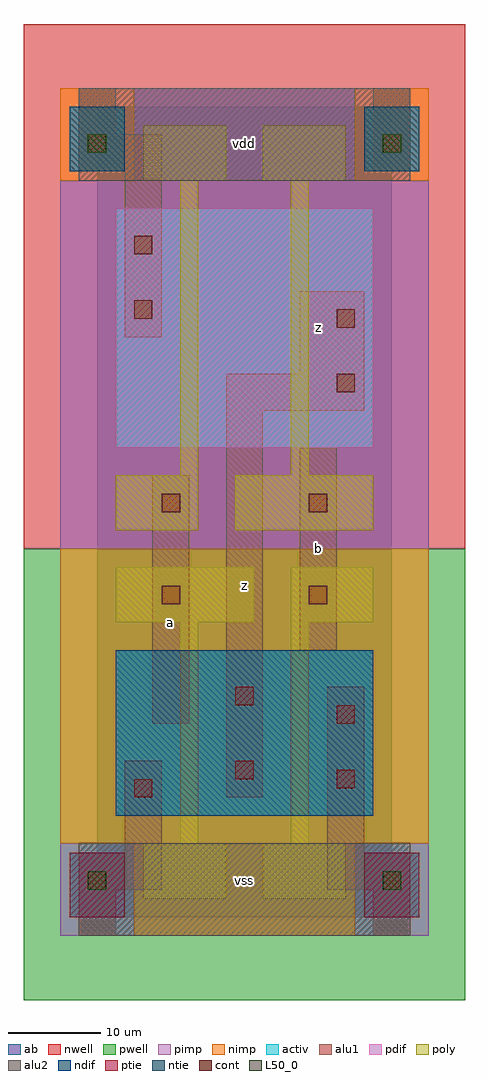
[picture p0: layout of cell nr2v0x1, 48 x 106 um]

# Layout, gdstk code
import gdstk
lib = gdstk.Library(unit=1e-6, precision=1e-09)
def R(c, l, rs):  # rectangles x0, y0, x1, y1
    for r in rs: c.add(gdstk.rectangle(r[:2], r[2:], *l))
ndif = (3, 0)
pdif = (4, 0)
ntie = (5, 0)
ptie = (6, 0)
cont = (25, 0)
pwell = (41, 0)
nwell = (42, 0)
activ = (43, 0)
pimp = (44, 0)
nimp = (45, 0)
poly = (46, 0)
alu1 = (49, 0)
L50_0 = (50, 0)
alu2 = (51, 0)
ab = (63, 0)

nr2v0x1 = lib.new_cell('nr2v0x1')
R(nr2v0x1, ndif, [(2,11,30,29)])
R(nr2v0x1, pdif, [(2,51,30,77)])
R(nr2v0x1, ntie, [(-3,81,3,88), (29,81,35,88)])
R(nr2v0x1, ptie, [(-3,0,3,7), (29,0,35,7)])
R(nr2v0x1, cont, [(-1,3,1,5), (31,3,33,5), (4,13,6,15), (26,14,28,16), (15,15,17,17), (26,21,28,23), (15,23,17,25), (7,34,9,36), (23,34,25,36), (7,44,9,46), (23,44,25,46), (26,57,28,59), (26,64,28,66), (4,65,6,67), (4,72,6,74), (-1,83,1,85), (31,83,33,85)])
R(nr2v0x1, pwell, [(-8,-9,40,40)])
R(nr2v0x1, nwell, [(-8,40,40,97)])
R(nr2v0x1, activ, [(-3,0,3,7), (29,0,35,7), (2,11,30,29), (2,51,30,77), (-3,81,3,88), (29,81,35,88)])
R(nr2v0x1, pimp, [(-4,-2,4,8), (28,-2,36,8), (-4,40,36,80), (4,80,28,90)])
R(nr2v0x1, nimp, [(4,-2,28,8), (-4,8,36,40), (-4,80,4,90), (28,80,36,90)])
R(nr2v0x1, poly, [(5,2,14,8), (18,2,27,8), (9,8,11,32), (21,8,23,32), (2,32,17,38), (21,32,30,38), (2,42,11,48), (15,42,30,48), (9,48,11,80), (21,48,23,80), (5,80,14,86), (18,80,27,86)])
R(nr2v0x1, alu1, [(-2,-2,2,3), (30,-2,34,3), (-2,3,7,7), (25,3,34,7), (3,7,7,17), (25,7,29,25), (14,13,18,55), (6,21,10,48), (22,29,26,51), (14,55,29,59), (22,59,29,68), (3,63,7,81), (-2,81,7,85), (30,81,34,90), (-2,85,2,90)])
R(nr2v0x1, L50_0, [(-1,3,1,5), (31,3,33,5), (-1,83,1,85), (31,83,33,85)])
R(nr2v0x1, alu2, [(-2,-2,34,8), (-2,80,34,90)])
R(nr2v0x1, ab, [(0,0,32,88)])
nr2v0x1.add(gdstk.Label('a', (8,32), layer=49, texttype=0))
nr2v0x1.add(gdstk.Label('z', (16,36), layer=49, texttype=0))
nr2v0x1.add(gdstk.Label('b', (24,40), layer=49, texttype=0))
nr2v0x1.add(gdstk.Label('z', (24,64), layer=49, texttype=0))
nr2v0x1.add(gdstk.Label('vss', (16,4), layer=51, texttype=0))
nr2v0x1.add(gdstk.Label('vdd', (16,84), layer=51, texttype=0))

lib.write_gds('nr2v0x1.gds')
